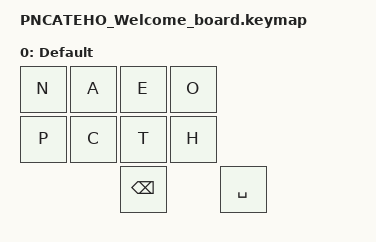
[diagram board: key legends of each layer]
/*
 * Copyright (c) 2020 The ZMK Contributors
 *
 * SPDX-License-Identifier: MIT
 */

#include <behaviors.dtsi>
#include <dt-bindings/zmk/keys.h>

/ {
        keymap {
                compatible = "zmk,keymap";

                default_layer {
                        display-name = "Default";

                        bindings = <
                                &kp N &kp A &kp E &kp O
                                &kp P &kp C &kp T &kp H
                                            &kp BACKSPACE &kp SPACE
                        >;
                };
        };
};

